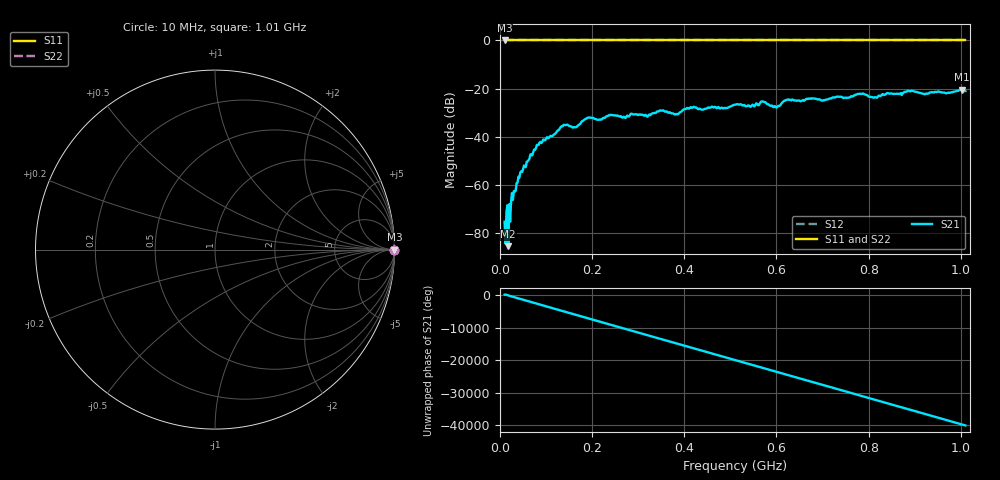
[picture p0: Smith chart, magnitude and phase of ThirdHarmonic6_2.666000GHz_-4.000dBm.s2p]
! 8/17/2025 6:10:26 AM
! C:\ANRITSUVNA\TEMP\TEMP.S2P
! CHANNEL.1
! TR.MEASUREMENT
! RAW.DATA
! RF.CORRECTION.OFF
! AVERAGING.OFF
! IF.BANDWIDTH: 5KHZ
! SWEEPTYPE:  FREQ.SWEEP(Linear)
! Reference Plane Port Info
! PORT:  PORT1  PORT2
! DISTANCE:  0  m  0  m
! TIME:  0  s  0  s
! PHASE.OFFSET:  0  deg.  0  deg.
! LOSS:  0  dB  0  dB
! REF.LOSS:  0  dB  0  dB
! REF.FREQ:  0  Hz  0  Hz
! Power Info
! POWER:  -20  dBm  -20  dBm
! EFF.POWER:  -20  dBm  -20  dBm
! SOURCE.ATTEN:  0  dB  0  dB
! TEST.ATTEN:  0  dB  0  dB
# GHZ S RI R 50.0
! FREQ.GHZ  S11RE  S11IM  S21RE  S21IM  S12RE  S12IM  S22RE  S22IM
!; PortSelection: Port_12
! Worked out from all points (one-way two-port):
!   501 points, 10 MHz to 1.01 GHz, reference 50 ohm
!   highest |S21| = -20.44 dB at 1.002 GHz (marker M1); lowest = -85.5 dB at 18 MHz (marker M2)
!   lowest |S11| = 0.0 dB at 10 MHz (marker M3)
!   |S11| at or under -10 dB: nowhere
!   |S22| runs from 0.0 to 0.0 dB; largest |S21 - S12| = 1.1
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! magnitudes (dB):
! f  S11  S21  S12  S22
! 10 MHz  0.0  -75.3  0.0  0.0
! 18 MHz  0.0  -85.5  0.0  0.0
! 22 MHz  0.0  -75.3  0.0  0.0
! 28 MHz  0.0  -66.3  0.0  0.0
! 42 MHz  0.0  -57.0  0.0  0.0
! 84 MHz  0.0  -43.4  0.0  0.0
! 136 MHz  0.0  -35.6  0.0  0.0
! 162 MHz  0.0  -36.1  0.0  0.0
! 178 MHz  0.0  -33.6  0.0  0.0
! 344 MHz  0.0  -29.5  0.0  0.0
! 382 MHz  0.0  -30.6  0.0  0.0
! 416 MHz  0.0  -28.0  0.0  0.0
! 510 MHz  0.0  -26.7  0.0  0.0
! 570 MHz  0.0  -25.3  0.0  0.0
! 598 MHz  0.0  -27.5  0.0  0.0
! 622 MHz  0.0  -24.7  0.0  0.0
! 678 MHz  0.0  -24.1  0.0  0.0
! 784 MHz  0.0  -22.2  0.0  0.0
! 814 MHz  0.0  -23.6  0.0  0.0
! 844 MHz  0.0  -22.1  0.0  0.0
! 1.002 GHz  0.0  -20.4  0.0  0.0
! 1.01 GHz  0.0  -21.0  0.0  0.0
